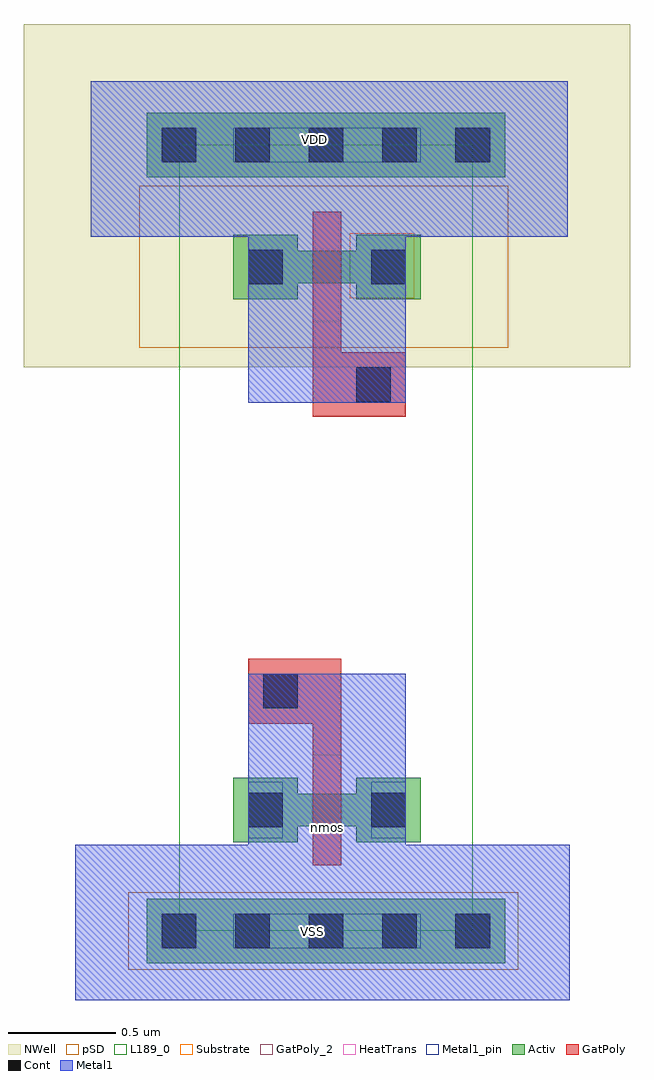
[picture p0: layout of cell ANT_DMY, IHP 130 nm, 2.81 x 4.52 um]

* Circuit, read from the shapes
.subckt ANT_DMY VDD VSS
XM1 VSS VSS VSS VSS sg13_lv_nmos w=0.15u l=0.13u
XM2 VDD VDD VDD VDD sg13_lv_pmos w=0.15u l=0.13u
.ends

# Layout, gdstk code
import gdstk
lib = gdstk.Library(unit=1e-6, precision=1e-09)
def R(c, l, rs):  # rectangles x0, y0, x1, y1
    for r in rs: c.add(gdstk.rectangle(r[:2], r[2:], *l))
def A(c, l, x, y, w, h, nx, ny, dx, dy):  # array of equal rectangles
    R(c, l, [(x+i*dx, y+j*dy, x+i*dx+w, y+j*dy+h) for i in range(nx) for j in range(ny)])
Activ = (1, 0)
GatPoly = (5, 0)
GatPoly_2 = (5, 2)
Cont = (6, 0)
Metal1 = (8, 0)
Metal1_pin = (8, 2)
pSD = (14, 0)
NWell = (31, 0)
Substrate = (40, 0)
HeatTrans = (51, 0)
L189_0 = (189, 0)

nmos_1_10 = lib.new_cell('nmos$1$10')
R(nmos_1_10, Activ, [(0,-0.025,0.3,0.275), (0.57,-0.025,0.87,0.275), (0,0.05,0.87,0.2)])
R(nmos_1_10, GatPoly, [(0.37,-0.13,0.5,0.38)])
R(nmos_1_10, GatPoly_2, [(0.37,-0.13,0.5,0.38)])
R(nmos_1_10, Cont, [(0.07,0.045,0.23,0.205), (0.64,0.045,0.8,0.205)])
R(nmos_1_10, Metal1, [(0.07,-0.005,0.23,0.255), (0.64,-0.005,0.8,0.255)])
R(nmos_1_10, Metal1_pin, [(0.07,-0.005,0.23,0.255), (0.64,-0.005,0.8,0.255)])
R(nmos_1_10, HeatTrans, [(0.37,-0.13,0.5,0.38)])
nmos_1_10.add(gdstk.Label('nmos', (0.435,0.125), layer=63, texttype=0))
nmos_1_10.add(gdstk.Label('nmos', (0.435,0.125), layer=51, texttype=0))

via_stack_36 = lib.new_cell('via_stack$36')
R(via_stack_36, Activ, [(-0.83,-0.15,0.83,0.15)])
A(via_stack_36, Cont, -0.76, -0.08, 0.16, 0.16, 5, 1, 0.34, 0)
R(via_stack_36, Metal1, [(-0.81,-0.08,0.81,0.08)])

via_stack_39 = lib.new_cell('via_stack$39')
R(via_stack_39, GatPoly, [(-0.15,-0.15,0.15,0.15)])
R(via_stack_39, Cont, [(-0.08,-0.08,0.08,0.08)])
R(via_stack_39, Metal1, [(-0.13,-0.08,0.13,0.08)])

pmos_11 = lib.new_cell('pmos$11')
R(pmos_11, Activ, [(0,0,0.3,0.3), (0.57,0,0.87,0.3), (0,0.075,0.87,0.225)])
R(pmos_11, GatPoly, [(0.37,-0.105,0.5,0.405), (0.37,-0.105,0.5,0.405)])
R(pmos_11, Cont, [(0.07,0.07,0.23,0.23), (0.64,0.07,0.8,0.23)])
R(pmos_11, Metal1, [(0.07,0.02,0.23,0.28), (0.07,0.02,0.23,0.28), (0.64,0.02,0.8,0.28), (0.64,0.02,0.8,0.28)])
R(pmos_11, pSD, [(-0.18,-0.225,1.05,0.525)])
R(pmos_11, NWell, [(-0.31,-0.31,1.18,0.61)])
R(pmos_11, HeatTrans, [(0.37,-0.105,0.5,0.405)])
pmos_11.add(gdstk.Label('pmos', (0.435,0.15), layer=63, texttype=0))
pmos_11.add(gdstk.Label('pmos', (0.435,0.15), layer=51, texttype=0))

ant_dmy = lib.new_cell('ANT_DMY')
R(ant_dmy, Metal1, [(-0.45,-0.17,1.84,0.55), (0.28,0.07,1.15,0.23), (0.35,0.23,1.08,1.34), (0.35,2.595,1.08,3.74), (-0.38,3.365,1.83,4.085), (0.28,3.71,1.15,3.87)])
R(ant_dmy, Metal1_pin, [(0.28,0.07,1.15,0.23), (0.28,3.71,1.15,3.87)])
R(ant_dmy, pSD, [(-0.205,-0.03,1.6,0.33), (-0.155,2.85,1.555,3.6)])
R(ant_dmy, NWell, [(-0.69,2.76,2.12,4.35)])
R(ant_dmy, Substrate, [(0.82,3.08,1.12,3.38)])
R(ant_dmy, L189_0, [(0.03,0.15,1.39,3.79)])
ant_dmy.add(gdstk.FlexPath([(0.43,3.35),(0.43,3.865)], 0.16, ends="flush", simple_path=True, layer=8, datatype=0))  # Metal1
ant_dmy.add(gdstk.FlexPath([(1,3.87),(1,2.6)], 0.16, ends="flush", simple_path=True, layer=8, datatype=0))  # Metal1
ant_dmy.add(gdstk.FlexPath([(1,0.84),(1,0.23)], 0.16, ends="flush", simple_path=True, layer=8, datatype=0))  # Metal1
ant_dmy.add(gdstk.FlexPath([(0.43,0.84),(0.43,0.23)], 0.16, ends="flush", simple_path=True, layer=8, datatype=0))  # Metal1
ant_dmy.add(gdstk.FlexPath([(0.43,0.84),(0.43,1.34)], 0.16, ends="flush", simple_path=True, layer=8, datatype=0))  # Metal1
ant_dmy.add(gdstk.FlexPath([(0.715,1.41),(0.715,0.965)], 0.13, ends="flush", simple_path=True, layer=5, datatype=0))  # GatPoly
ant_dmy.add(gdstk.FlexPath([(0.715,2.975),(0.715,2.53)], 0.13, ends="flush", simple_path=True, layer=5, datatype=0))  # GatPoly
ant_dmy.add(gdstk.Reference(nmos_1_10, (0.28,0.585)))
ant_dmy.add(gdstk.Reference(via_stack_36, (0.71,3.79)))
ant_dmy.add(gdstk.Reference(via_stack_36, (0.71,0.15)))
ant_dmy.add(gdstk.Reference(via_stack_39, (0.5,1.26)))
ant_dmy.add(gdstk.Reference(pmos_11, (0.28,3.075)))
ant_dmy.add(gdstk.Reference(via_stack_39, (0.93,2.68)))
ant_dmy.add(gdstk.Label('nmos', (0.715,0.63), layer=63, texttype=0))
ant_dmy.add(gdstk.Label('VSS', (0.65,0.145), layer=8, texttype=25))
ant_dmy.add(gdstk.Label('VDD', (0.655,3.815), layer=8, texttype=25))

lib.write_gds('ANT_DMY.gds')
